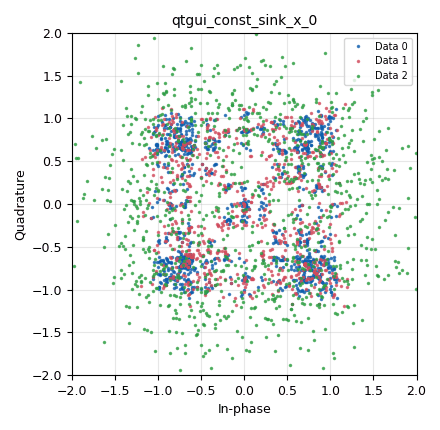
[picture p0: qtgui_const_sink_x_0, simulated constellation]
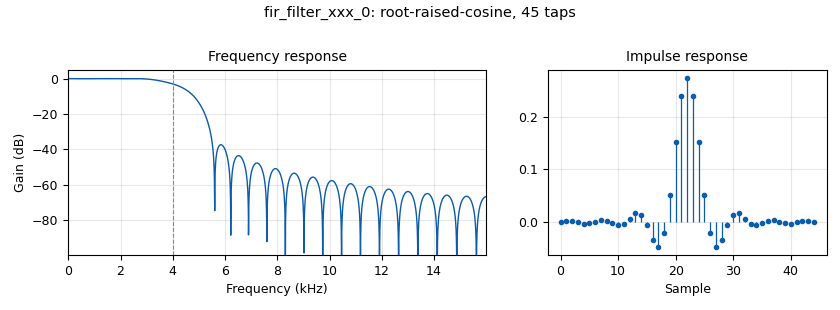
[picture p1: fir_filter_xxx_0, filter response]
options:
  parameters:
    author: irongiant
    generate_options: qt_gui
    id: qpskmod
    output_language: python
    title: Not titled yet
  states: {}

blocks:
- name: excess_bw
  id: variable
  parameters:
    value: '0.35'
  states: {}
- name: freq_offset
  id: variable_qtgui_range
  parameters:
    start: '-0.1'
    step: '0.001'
    stop: '0.1'
    value: '0.025'
  states: {}
- name: noise
  id: variable_qtgui_range
  parameters:
    start: '0'
    step: '0.01'
    stop: '1'
    value: '0.2'
  states: {}
- name: phase_offset
  id: variable_qtgui_range
  parameters:
    start: '0.999'
    step: '0.0001'
    stop: '1.001'
    value: '1.0005'
  states: {}
- name: qpsk
  id: variable_constellation_rect
  parameters:
    const_points: '[0.707+0.707j, -0.707+0.707j, -0.707-0.707j, 0.707-0.707j]'
    imag_sect: '2'
    real_sect: '2'
    rot_sym: '4'
    sym_map: '[0, 1, 3, 2]'
    w_imag_sect: '1'
    w_real_sect: '1'
  states: {}
- name: samp_rate
  id: variable
  parameters:
    value: '32000'
  states: {}
- name: sps
  id: variable
  parameters:
    value: '4'
  states: {}
- name: variable_adaptive_algorithm_0
  id: variable_adaptive_algorithm
  parameters:
    cons: qpsk
    modulus: '4'
    step_size: '.0001'
    type: cma
  states: {}
- name: analog_random_source_x_0
  id: analog_random_source_x
  parameters:
    max: '256'
    min: '0'
    num_samps: '10000'
    repeat: 'True'
    type: byte
  states: {}
- name: blocks_throttle2_0
  id: blocks_throttle2
  parameters:
    samples_per_second: samp_rate
    type: complex
  states: {}
- name: channels_channel_model_0
  id: channels_channel_model
  parameters:
    epsilon: phase_offset
    freq_offset: freq_offset
    noise_voltage: noise
    seed: '0'
    taps: '1.0'
  states: {}
- name: digital_constellation_modulator_0
  id: digital_constellation_modulator
  parameters:
    constellation: qpsk
    differential: 'True'
    excess_bw: '0.1'
    samples_per_symbol: '4'
  states: {state: disabled}
- name: digital_constellation_modulator_0_0
  id: digital_constellation_modulator
  parameters:
    constellation: qpsk
    differential: 'True'
    excess_bw: '0.220'
    samples_per_symbol: '4'
  states: {state: disabled}
- name: digital_constellation_modulator_0_0_0
  id: digital_constellation_modulator
  parameters:
    constellation: qpsk
    differential: 'True'
    excess_bw: excess_bw
    samples_per_symbol: '4'
  states: {}
- name: digital_constellation_modulator_0_0_0_0
  id: digital_constellation_modulator
  parameters:
    constellation: qpsk
    differential: 'True'
    excess_bw: '0.5'
    samples_per_symbol: '4'
  states: {state: disabled}
- name: digital_constellation_modulator_0_0_0_0_0
  id: digital_constellation_modulator
  parameters:
    constellation: qpsk
    differential: 'True'
    excess_bw: '1'
    samples_per_symbol: '4'
  states: {state: disabled}
- name: digital_costas_loop_cc_0
  id: digital_costas_loop_cc
  parameters:
    order: '4'
    w: (2*math.pi)/100
  states: {}
- name: digital_linear_equalizer_0
  id: digital_linear_equalizer
  parameters:
    alg: variable_adaptive_algorithm_0
    num_taps: '15'
    sps: int(sps)
  states: {}
- name: digital_symbol_sync_xx_0
  id: digital_symbol_sync_xx
  parameters:
    constellation: digital.constellation_qpsk().base()
    damping: '1.0'
    loop_bw: (2*math.pi)/100
    max_dev: '1.5'
    osps: '2'
    resamp_type: digital.IR_MMSE_8TAP
    sps: sps
    ted_gain: '1.0'
    ted_type: digital.TED_MUELLER_AND_MULLER
    type: cc
  states: {}
- name: fir_filter_xxx_0
  id: fir_filter_xxx
  parameters:
    decim: '1'
    taps: firdes.root_raised_cosine(1.0,samp_rate,samp_rate/sps,excess_bw,11*sps)
    type: ccc
  states: {}
- name: import_0
  id: import
  parameters:
    imports: import math
  states: {}
- name: note_0
  id: note
  parameters:
    comment: |-
      enable all of the constellation modulators
      and this sink to see the effect of different
      excess_bw values
  states: {}
- name: qtgui_const_sink_x_0
  id: qtgui_const_sink_x
  parameters:
    nconnections: '3'
    size: '1024'
    type: complex
  states: {}
- name: qtgui_freq_sink_x_0
  id: qtgui_freq_sink_x
  parameters:
    bw: samp_rate
    fc: '0'
    fftsize: '1024'
    nconnections: '5'
    type: complex
  states: {state: disabled}
- name: qtgui_freq_sink_x_0_0
  id: qtgui_freq_sink_x
  parameters:
    bw: samp_rate
    fc: '0'
    fftsize: '1024'
    nconnections: '3'
    type: complex
  states: {state: disabled}
- name: qtgui_time_sink_x_0
  id: qtgui_time_sink_x
  parameters:
    nconnections: '3'
    size: '200'
    srate: samp_rate
    type: complex
  states: {state: disabled}

connections:
- [analog_random_source_x_0, '0', digital_constellation_modulator_0, '0']
- [analog_random_source_x_0, '0', digital_constellation_modulator_0_0, '0']
- [analog_random_source_x_0, '0', digital_constellation_modulator_0_0_0, '0']
- [analog_random_source_x_0, '0', digital_constellation_modulator_0_0_0_0, '0']
- [analog_random_source_x_0, '0', digital_constellation_modulator_0_0_0_0_0, '0']
- [blocks_throttle2_0, '0', channels_channel_model_0, '0']
- [blocks_throttle2_0, '0', fir_filter_xxx_0, '0']
- [blocks_throttle2_0, '0', qtgui_const_sink_x_0, '0']
- [blocks_throttle2_0, '0', qtgui_freq_sink_x_0_0, '0']
- [blocks_throttle2_0, '0', qtgui_time_sink_x_0, '0']
- [channels_channel_model_0, '0', digital_linear_equalizer_0, '0']
- [digital_constellation_modulator_0, '0', qtgui_freq_sink_x_0, '0']
- [digital_constellation_modulator_0_0, '0', qtgui_freq_sink_x_0, '1']
- [digital_constellation_modulator_0_0_0, '0', blocks_throttle2_0, '0']
- [digital_constellation_modulator_0_0_0, '0', qtgui_freq_sink_x_0, '2']
- [digital_constellation_modulator_0_0_0_0, '0', qtgui_freq_sink_x_0, '4']
- [digital_constellation_modulator_0_0_0_0_0, '0', qtgui_freq_sink_x_0, '3']
- [digital_costas_loop_cc_0, '0', qtgui_const_sink_x_0, '2']
- [digital_linear_equalizer_0, '0', digital_symbol_sync_xx_0, '0']
- [digital_symbol_sync_xx_0, '0', digital_costas_loop_cc_0, '0']
- [digital_symbol_sync_xx_0, '0', qtgui_freq_sink_x_0_0, '2']
- [digital_symbol_sync_xx_0, '0', qtgui_time_sink_x_0, '2']
- [fir_filter_xxx_0, '0', qtgui_const_sink_x_0, '1']
- [fir_filter_xxx_0, '0', qtgui_freq_sink_x_0_0, '1']
- [fir_filter_xxx_0, '0', qtgui_time_sink_x_0, '1']

metadata:
  file_format: 1
  grc_version: 3.10.9.2
